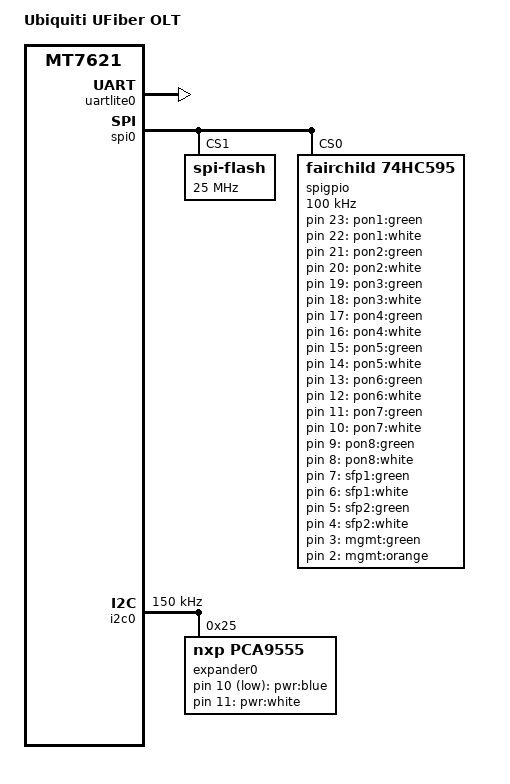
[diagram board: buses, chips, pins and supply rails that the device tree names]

/dts-v1/;
#include "mt7621.dtsi"

/ {
	model = "Ubiquiti UFiber OLT";
	compatible = "ubiquiti,ufiber-olt";

	aliases {
		serial0 = &uartlite0;
		i2c0 = &i2c0;
	};
	leds: leds {
		compatible = "gpio-leds";
		pwr_blue  { label = "pwr:blue";  gpios = <&expander0 10 1>; };
		pwr_white { label = "pwr:white"; gpios = <&expander0 11 0>; };
		pon1_green {label = "pon1:green"; gpios = <&spigpio 23 0>; };
		pon1_white {label = "pon1:white"; gpios = <&spigpio 22 0>; };
		pon2_green {label = "pon2:green"; gpios = <&spigpio 21 0>; };
		pon2_white {label = "pon2:white"; gpios = <&spigpio 20 0>; };
		pon3_green {label = "pon3:green"; gpios = <&spigpio 19 0>; };
		pon3_white {label = "pon3:white"; gpios = <&spigpio 18 0>; };
		pon4_green {label = "pon4:green"; gpios = <&spigpio 17 0>; };
		pon4_white {label = "pon4:white"; gpios = <&spigpio 16 0>; };
		pon5_green {label = "pon5:green"; gpios = <&spigpio 15 0>; };
		pon5_white {label = "pon5:white"; gpios = <&spigpio 14 0>; };
		pon6_green {label = "pon6:green"; gpios = <&spigpio 13 0>; };
		pon6_white {label = "pon6:white"; gpios = <&spigpio 12 0>; };
		pon7_green {label = "pon7:green"; gpios = <&spigpio 11 0>; };
		pon7_white {label = "pon7:white"; gpios = <&spigpio 10 0>; };
		pon8_green {label = "pon8:green"; gpios = <&spigpio 9 0>; };
		pon8_white {label = "pon8:white"; gpios = <&spigpio 8 0>; };
		sfp1_green {label = "sfp1:green"; gpios = <&spigpio 7 0>; };
		sfp1_white {label = "sfp1:white"; gpios = <&spigpio 6 0>; };
		sfp2_green {label = "sfp2:green"; gpios = <&spigpio 5 0>; };
		sfp2_white {label = "sfp2:white"; gpios = <&spigpio 4 0>; };
		mgmt_green {label = "mgmt:green"; gpios = <&spigpio 3 0>; };
		mgmt_orange {label = "mgmt:orange"; gpios = <&spigpio 2 0>; };
	};
};

&uartlite0 {
	status = "okay";
};

&spi0 {
	spi-max-frequency = <25000000>;
	status = "okay";

	spi-flash@1 {
		#address-cells = <1>;
		#size-cells = <1>;
		compatible = "spi-flash";
		spi-max-frequency = <25000000>;
		reg = <1>;
	};
	spigpio: spigpio@0 {
		compatible = "fairchild,74hc595";
		reg = <0>;
		gpio-controller;
		#gpio-cells = <2>;
		registers-number = <3>;
		spi-max-frequency = <100000>;
	};
};

&i2c0 {
	status = "okay";
	clock-frequency = <150000>;
	expander0: pca9555@25 {
		compatible = "nxp,pca9555";
		reg = <0x25>;
		gpio-controller;
		#gpio-cells = <2>;
	};
};
